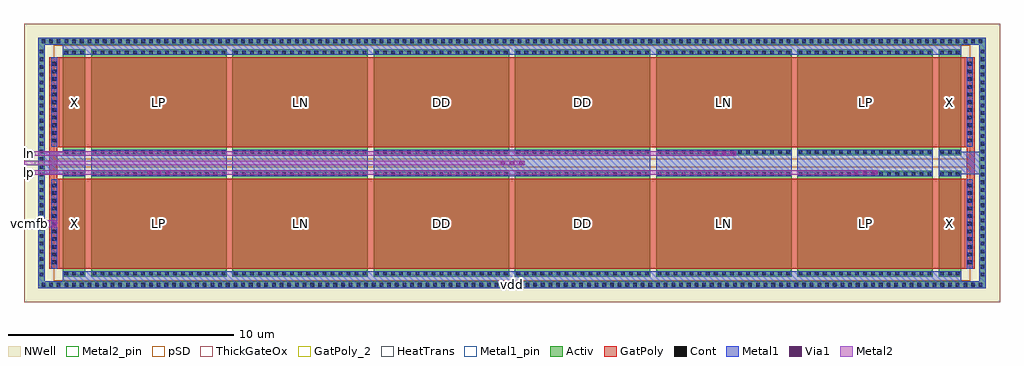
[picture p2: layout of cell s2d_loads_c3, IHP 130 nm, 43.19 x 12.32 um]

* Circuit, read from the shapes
.subckt s2d_loads_c3 dd ln lp vcmfb vdd
XM1 vdd vcmfb vdd vdd sg13_hv_pmos w=1u l=4u m=4
XM2 lp vcmfb vdd vdd sg13_hv_pmos w=6u l=4u m=4
XM3 ln vcmfb vdd vdd sg13_hv_pmos w=6u l=4u m=4
XM4 dd vcmfb vdd vdd sg13_hv_pmos w=6u l=4u m=4
.ends

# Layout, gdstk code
from math import pi, radians
import gdstk
lib = gdstk.Library(unit=1e-6, precision=1e-09)
def R(c, l, rs):  # rectangles x0, y0, x1, y1
    for r in rs: c.add(gdstk.rectangle(r[:2], r[2:], *l))
def A(c, l, x, y, w, h, nx, ny, dx, dy):  # array of equal rectangles
    R(c, l, [(x+i*dx, y+j*dy, x+i*dx+w, y+j*dy+h) for i in range(nx) for j in range(ny)])
Activ = (1, 0)
GatPoly = (5, 0)
GatPoly_2 = (5, 2)
Cont = (6, 0)
Metal1 = (8, 0)
Metal1_pin = (8, 2)
Metal2 = (10, 0)
Metal2_pin = (10, 2)
pSD = (14, 0)
Via1 = (19, 0)
NWell = (31, 0)
ThickGateOx = (44, 0)
HeatTrans = (51, 0)

pmoshv_w1_l4_1 = lib.new_cell('pmosHV_w1_l4$1')
R(pmoshv_w1_l4_1, Activ, [(0,0,0.3,0.3), (0,0,4.68,1), (4.38,0,4.68,0.3)])
R(pmoshv_w1_l4_1, GatPoly, [(0.34,-0.18,4.34,1.18)])
R(pmoshv_w1_l4_1, GatPoly_2, [(0.34,-0.18,4.34,1.18)])
A(pmoshv_w1_l4_1, Cont, 0.07, 0.07, 0.16, 0.16, 1, 3, 0, 0.35)
A(pmoshv_w1_l4_1, Cont, 4.45, 0.07, 0.16, 0.16, 1, 3, 0, 0.35)
R(pmoshv_w1_l4_1, Metal1, [(0.07,0,0.23,1), (4.45,0,4.61,1)])
R(pmoshv_w1_l4_1, Metal1_pin, [(0.07,0,0.23,1), (4.45,0,4.61,1)])
R(pmoshv_w1_l4_1, pSD, [(-0.18,-0.4,4.86,1.4)])
R(pmoshv_w1_l4_1, NWell, [(-0.62,-0.62,5.3,1.62)])
R(pmoshv_w1_l4_1, ThickGateOx, [(-0.62,-0.62,5.3,1.62)])
R(pmoshv_w1_l4_1, HeatTrans, [(0.34,-0.18,4.34,1.18)])
pmoshv_w1_l4_1.add(gdstk.Label('pmosHV', (2.34,0.5), layer=63, texttype=0))
pmoshv_w1_l4_1.add(gdstk.Label('pmos', (2.34,0.5), layer=51, texttype=0))

pmoshv_w6_l4 = lib.new_cell('pmosHV_w6_l4')
R(pmoshv_w6_l4, Activ, [(0,0,0.3,0.3), (0,0,4.68,6), (4.38,0,4.68,0.3)])
R(pmoshv_w6_l4, GatPoly, [(0.34,-0.18,4.34,6.18)])
R(pmoshv_w6_l4, GatPoly_2, [(0.34,-0.18,4.34,6.18)])
A(pmoshv_w6_l4, Cont, 0.07, 0.07, 0.16, 0.16, 1, 4, 0, 0.355)
A(pmoshv_w6_l4, Cont, 4.45, 0.07, 0.16, 0.16, 1, 4, 0, 0.355)
A(pmoshv_w6_l4, Cont, 0.07, 1.495, 0.16, 0.16, 1, 4, 0, 0.355)
A(pmoshv_w6_l4, Cont, 4.45, 1.495, 0.16, 0.16, 1, 4, 0, 0.355)
A(pmoshv_w6_l4, Cont, 0.07, 2.92, 0.16, 0.16, 1, 4, 0, 0.355)
A(pmoshv_w6_l4, Cont, 4.45, 2.92, 0.16, 0.16, 1, 4, 0, 0.355)
A(pmoshv_w6_l4, Cont, 0.07, 4.345, 0.16, 0.16, 1, 4, 0, 0.355)
A(pmoshv_w6_l4, Cont, 4.45, 4.345, 0.16, 0.16, 1, 4, 0, 0.355)
R(pmoshv_w6_l4, Cont, [(0.07,5.77,0.23,5.93), (4.45,5.77,4.61,5.93)])
R(pmoshv_w6_l4, Metal1, [(0.07,0,0.23,6), (4.45,0,4.61,6)])
R(pmoshv_w6_l4, Metal1_pin, [(0.07,0,0.23,6), (4.45,0,4.61,6)])
R(pmoshv_w6_l4, pSD, [(-0.18,-0.4,4.86,6.4)])
R(pmoshv_w6_l4, NWell, [(-0.62,-0.62,5.3,6.62)])
R(pmoshv_w6_l4, ThickGateOx, [(-0.62,-0.62,5.3,6.62)])
R(pmoshv_w6_l4, HeatTrans, [(0.34,-0.18,4.34,6.18)])
pmoshv_w6_l4.add(gdstk.Label('pmosHV', (2.34,3), layer=63, texttype=0))
pmoshv_w6_l4.add(gdstk.Label('pmos', (2.34,3), layer=51, texttype=0))

s2d_loads_c3 = lib.new_cell('s2d_loads_c3')
R(s2d_loads_c3, Activ, [(0.62,0.62,42.57,0.92), (0.62,0.92,0.92,11.4), (42.27,0.92,42.57,11.4), (0.62,11.4,42.57,11.7)])
R(s2d_loads_c3, GatPoly, [(1.12,1.47,1.72,5.47), (41.47,1.47,42.07,5.47), (1.12,5.47,1.47,6.85), (41.72,5.47,42.07,6.85), (1.12,6.85,1.72,10.85), (41.47,6.85,42.07,10.85)])
A(s2d_loads_c3, Cont, 0.775, 0.69, 0.16, 0.16, 123, 2, 0.34, 10.78)
A(s2d_loads_c3, Cont, 0.69, 1.15, 0.16, 0.16, 1, 30, 0, 0.34)
A(s2d_loads_c3, Cont, 42.34, 1.15, 0.16, 0.16, 1, 30, 0, 0.34)
A(s2d_loads_c3, Cont, 1.26, 1.69, 0.16, 0.16, 1, 11, 0, 0.34)
A(s2d_loads_c3, Cont, 41.77, 1.69, 0.16, 0.16, 1, 11, 0, 0.34)
A(s2d_loads_c3, Cont, 1.26, 7.07, 0.16, 0.16, 1, 11, 0, 0.34)
A(s2d_loads_c3, Cont, 41.77, 7.07, 0.16, 0.16, 1, 11, 0, 0.34)
R(s2d_loads_c3, Metal1, [(0.62,0.62,42.57,0.92), (1.72,0.62,41.47,1.36), (0.62,0.92,0.92,11.4), (42.27,0.92,42.57,11.4), (1.21,1.49,1.47,5.45), (41.72,1.49,41.98,5.45), (1.72,5.58,2.72,6.74), (2.97,5.58,8.97,6.74), (9.22,5.58,15.22,6.74), (15.47,5.58,27.72,6.74), (27.97,5.58,33.97,6.74), (34.22,5.58,40.22,6.74), (40.47,5.58,41.47,6.74), (0.92,5.67,2.72,6.65), (40.47,5.67,42.27,6.65), (1.21,6.87,1.47,10.83), (41.72,6.87,41.98,10.83), (1.72,10.96,41.47,11.7), (0.62,11.4,42.57,11.7)])
R(s2d_loads_c3, Metal1_pin, [(20.595,0.62,22.595,0.92)])
R(s2d_loads_c3, Metal2, [(0,3.32,1.47,3.62), (0,5.65,37.775,5.85), (0,6.06,22.15,6.26), (0,6.47,31.525,6.67)])
A(s2d_loads_c3, Metal2_pin, 0, 5.65, 0.5, 0.2, 1, 3, 0, 0.41)
R(s2d_loads_c3, Metal2_pin, [(0,3.32,0.5,3.62)])
A(s2d_loads_c3, Via1, 5.465, 5.655, 0.19, 0.19, 3, 1, 0.41, 0)
A(s2d_loads_c3, Via1, 36.715, 5.655, 0.19, 0.19, 3, 1, 0.41, 0)
A(s2d_loads_c3, Via1, 21.09, 6.065, 0.19, 0.19, 3, 1, 0.41, 0)
A(s2d_loads_c3, Via1, 11.715, 6.475, 0.19, 0.19, 3, 1, 0.41, 0)
A(s2d_loads_c3, Via1, 30.465, 6.475, 0.19, 0.19, 3, 1, 0.41, 0)
R(s2d_loads_c3, Via1, [(1.245,3.375,1.435,3.565)])
R(s2d_loads_c3, NWell, [(0,0,43.19,12.32)])
R(s2d_loads_c3, ThickGateOx, [(0,0,43.19,12.32)])
s2d_loads_c3.add(gdstk.Reference(pmoshv_w1_l4_1, (2.72,1.13), rotation=pi/2))
s2d_loads_c3.add(gdstk.Reference(pmoshv_w1_l4_1, (40.47,11.19), rotation=3*pi/2))
s2d_loads_c3.add(gdstk.Reference(pmoshv_w1_l4_1, (40.47,1.13), rotation=pi/2, x_reflection=True))
s2d_loads_c3.add(gdstk.Reference(pmoshv_w1_l4_1, (2.72,11.19), rotation=3*pi/2, x_reflection=True))
s2d_loads_c3.add(gdstk.Reference(pmoshv_w6_l4, (8.97,1.13), rotation=pi/2))
s2d_loads_c3.add(gdstk.Reference(pmoshv_w6_l4, (15.22,1.13), rotation=pi/2))
s2d_loads_c3.add(gdstk.Reference(pmoshv_w6_l4, (21.47,1.13), rotation=pi/2))
s2d_loads_c3.add(gdstk.Reference(pmoshv_w6_l4, (21.72,11.19), rotation=3*pi/2))
s2d_loads_c3.add(gdstk.Reference(pmoshv_w6_l4, (27.97,11.19), rotation=3*pi/2))
s2d_loads_c3.add(gdstk.Reference(pmoshv_w6_l4, (34.22,11.19), rotation=3*pi/2))
s2d_loads_c3.add(gdstk.Reference(pmoshv_w6_l4, (21.72,1.13), rotation=pi/2, x_reflection=True))
s2d_loads_c3.add(gdstk.Reference(pmoshv_w6_l4, (27.97,1.13), rotation=pi/2, x_reflection=True))
s2d_loads_c3.add(gdstk.Reference(pmoshv_w6_l4, (34.22,1.13), rotation=pi/2, x_reflection=True))
s2d_loads_c3.add(gdstk.Reference(pmoshv_w6_l4, (8.97,11.19), rotation=3*pi/2, x_reflection=True))
s2d_loads_c3.add(gdstk.Reference(pmoshv_w6_l4, (15.22,11.19), rotation=3*pi/2, x_reflection=True))
s2d_loads_c3.add(gdstk.Reference(pmoshv_w6_l4, (21.47,11.19), rotation=3*pi/2, x_reflection=True))
s2d_loads_c3.add(gdstk.Label('X', (2.22,3.47), layer=63, texttype=0))
s2d_loads_c3.add(gdstk.Label('LP', (5.97,3.47), layer=63, texttype=0))
s2d_loads_c3.add(gdstk.Label('LN', (12.22,3.47), layer=63, texttype=0))
s2d_loads_c3.add(gdstk.Label('DD', (18.47,3.47), layer=63, texttype=0))
s2d_loads_c3.add(gdstk.Label('DD', (24.72,3.47), layer=63, texttype=0))
s2d_loads_c3.add(gdstk.Label('LN', (30.97,3.47), layer=63, texttype=0))
s2d_loads_c3.add(gdstk.Label('LP', (37.22,3.47), layer=63, texttype=0))
s2d_loads_c3.add(gdstk.Label('X', (40.97,3.47), layer=63, texttype=0))
s2d_loads_c3.add(gdstk.Label('X', (2.22,8.85), layer=63, texttype=0))
s2d_loads_c3.add(gdstk.Label('LP', (5.97,8.85), layer=63, texttype=0))
s2d_loads_c3.add(gdstk.Label('LN', (12.22,8.85), layer=63, texttype=0))
s2d_loads_c3.add(gdstk.Label('DD', (18.47,8.85), layer=63, texttype=0))
s2d_loads_c3.add(gdstk.Label('DD', (24.72,8.85), layer=63, texttype=0))
s2d_loads_c3.add(gdstk.Label('LN', (30.97,8.85), layer=63, texttype=0))
s2d_loads_c3.add(gdstk.Label('LP', (37.22,8.85), layer=63, texttype=0))
s2d_loads_c3.add(gdstk.Label('X', (40.97,8.85), layer=63, texttype=0))
s2d_loads_c3.add(gdstk.Label('vdd', (21.595,0.77), layer=8, texttype=25))
s2d_loads_c3.add(gdstk.Label('lp', (0.25,5.75), layer=10, texttype=25))
s2d_loads_c3.add(gdstk.Label('dd', (0.25,6.16), layer=10, texttype=25))
s2d_loads_c3.add(gdstk.Label('ln', (0.25,6.57), layer=10, texttype=25))
s2d_loads_c3.add(gdstk.Label('vcmfb', (0.25,3.47), layer=10, texttype=25))

lib.write_gds('s2d_loads_c3.gds')
